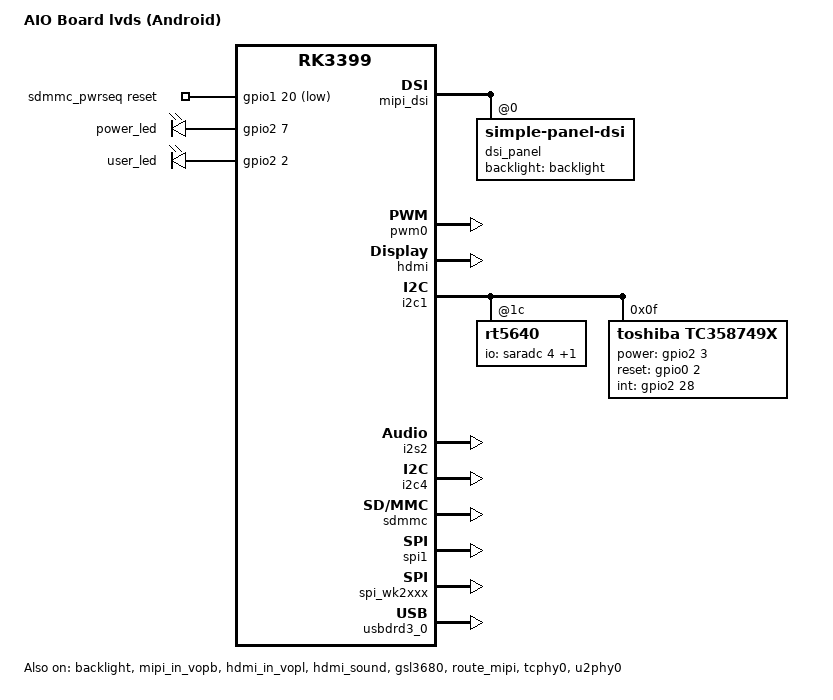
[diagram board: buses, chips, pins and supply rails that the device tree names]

/*
 * Copyright (c) 2016 Fuzhou Rockchip Electronics Co., Ltd
 *
 * This file is dual-licensed: you can use it either under the terms
 * of the GPL or the X11 license, at your option. Note that this dual
 * licensing only applies to this file, and not this project as a
 * whole.
 *
 *  a) This file is free software; you can redistribute it and/or
 *     modify it under the terms of the GNU General Public License as
 *     published by the Free Software Foundation; either version 2 of the
 *     License, or (at your option) any later version.
 *
 *     This file is distributed in the hope that it will be useful,
 *     but WITHOUT ANY WARRANTY; without even the implied warranty of
 *     MERCHANTABILITY or FITNESS FOR A PARTICULAR PURPOSE.  See the
 *     GNU General Public License for more details.
 *
 * Or, alternatively,
 *
 *  b) Permission is hereby granted, free of charge, to any person
 *     obtaining a copy of this software and associated documentation
 *     files (the "Software"), to deal in the Software without
 *     restriction, including without limitation the rights to use,
 *     copy, modify, merge, publish, distribute, sublicense, and/or
 *     sell copies of the Software, and to permit persons to whom the
 *     Software is furnished to do so, subject to the following
 *     conditions:
 *
 *     The above copyright notice and this permission notice shall be
 *     included in all copies or substantial portions of the Software.
 *
 *     THE SOFTWARE IS PROVIDED "AS IS", WITHOUT WARRANTY OF ANY KIND,
 *     EXPRESS OR IMPLIED, INCLUDING BUT NOT LIMITED TO THE WARRANTIES
 *     OF MERCHANTABILITY, FITNESS FOR A PARTICULAR PURPOSE AND
 *     NONINFRINGEMENT. IN NO EVENT SHALL THE AUTHORS OR COPYRIGHT
 *     HOLDERS BE LIABLE FOR ANY CLAIM, DAMAGES OR OTHER LIABILITY,
 *     WHETHER IN AN ACTION OF CONTRACT, TORT OR OTHERWISE, ARISING
 *     FROM, OUT OF OR IN CONNECTION WITH THE SOFTWARE OR THE USE OR
 *     OTHER DEALINGS IN THE SOFTWARE.
 */

/dts-v1/;

#include "rk3399-firefly-port.dtsi" 	

/ {
	model = "AIO Board lvds (Android)";
	compatible = "rockchip,android", "rockchip,rk3399-firefly-lvds", "rockchip,rk3399";

	test-power {
		status = "okay";
	};

	sdmmc_pwrseq: sdmmc-pwrseq {
           compatible = "mmc-pwrseq-simple";
           clocks = <&rk808 1>;
           clock-names = "ext_clock";
           pinctrl-names = "default";
           pinctrl-0 = <&sdcard_enable_h>;
           /*
            * On the module itself this is one of these (depending
            * on the actual card populated):
            * - SDIO_RESET_L_WL_REG_ON
            * - PDN (power down when low)
            */
           reset-gpios = <&gpio1 20 GPIO_ACTIVE_LOW>; /* GPIO4_D6 */
	};


        rt5640-sound {
        simple-audio-card,dai-link@0 {                                                                                                         
                format = "i2s";
                bitclock-master = <&rt5640_aif1>;
                frame-master = <&rt5640_aif1>;
                cpu {
                        sound-dai = <&i2s1 0>;
                };
                rt5640_aif1:codec {
                        sound-dai = <&rt5640 0>;
                };
        };
        simple-audio-card,dai-link@1 {
               format = "i2s";
               bitclock-master = <&rt5640_aif2>;
               frame-master = <&rt5640_aif2>;
                cpu {
                        sound-dai = <&i2s1 1>;
                };
                rt5640_aif2:codec {
                        sound-dai = <&rt5640 1>;
                };
        };

        simple-audio-card,dai-link@2 {     
                format = "i2s";
                bitclock-master = <&tc358749x_audio>;
                frame-master = <&tc358749x_audio>;
                cpu {
                        sound-dai = <&i2s1 0>;
                };
                tc358749x_audio:codec {
                        sound-dai = <&tc358749x 0>;
                };
        };

	};

};

&backlight {
	status = "okay";
	brightness-levels = < 150 151
	152 153 154 155 156 157 158 159
	160 161 162 163 164 165 166 167
	168 169 170 171 172 173 174 175
	176 177 178 179 180 181 182 183
	184 185 186 187 188 189 190 191
	192 193 194 195 196 197 198 199
	200 201 202 203 204 205 206 207
	208 209 210 211 212 213 214 215
	216 217 218 219 220 221 222 223
	224 225 226 227 228 229 230 231
	232 233 234 235 236 237 238 239
	240 241 242 243 244 245 246 247
	248 249 250 251 252 253 254 255>;
};


&mipi_dsi {
	status = "okay";
	dsi_panel: panel {
		compatible ="simple-panel-dsi";
		reg = <0>;
		//ddc-i2c-bu
		//power-supply = <&vcc_lcd>;
		//pinctrl-0 = <&lcd_panel_reset &lcd_panel_enable>;
		backlight = <&backlight>;
		/*
		enable-gpios = <&gpio1 1 GPIO_ACTIVE_LOW>;
		reset-gpios = <&gpio4 29 GPIO_ACTIVE_LOW>;
		*/
		dsi,flags = <(MIPI_DSI_MODE_VIDEO | MIPI_DSI_MODE_VIDEO_BURST | MIPI_DSI_MODE_LPM | MIPI_DSI_MODE_EOT_PACKET)>;
		dsi,format = <MIPI_DSI_FMT_RGB888>;
		//bus-format = <MEDIA_BUS_FMT_RGB666_1X18>;
		dsi,lanes = <4>;

        dsi,channel = <0>;

        delay,enable = <35>;
        delay,prepare = <6>;
		/*
        delay,power = <10>;
        delay,reset = <250>;

        delay,unreset = <0>;
        delay,unpower = <0>;
		*/
        delay,unprepare = <0>;
        delay,disable = <20>;
		
        size,width = <120>;
        size,height = <170>;

        status = "okay";
				

        panel-init-sequence = [
	29 00 06 3C 01 09 00 07 00
	29 00 06 14 01 06 00 00 00
	29 00 06 64 01 0B 00 00 00
	29 00 06 68 01 0B 00 00 00
	29 00 06 6C 01 0B 00 00 00
	29 00 06 70 01 0B 00 00 00
	29 00 06 34 01 1F 00 00 00
	29 00 06 10 02 1F 00 00 00
	29 00 06 04 01 01 00 00 00
	29 00 06 04 02 01 00 00 00
	29 00 06 50 04 20 01 F0 03
	29 00 06 54 04 32 00 B4 00
	29 00 06 58 04 80 07 48 00
	29 00 06 5C 04 0A 00 19 00
	29 00 06 60 04 38 04 0A 00
	29 00 06 64 04 01 00 00 00
	29 01 06 A0 04 06 80 44 00
	29 00 06 A0 04 06 80 04 00
	29 00 06 04 05 04 00 00 00
	29 00 06 80 04 00 01 02 03
	29 00 06 84 04 04 07 05 08
	29 00 06 88 04 09 0A 0E 0F
	29 00 06 8C 04 0B 0C 0D 10
	29 00 06 90 04 16 17 11 12
	29 00 06 94 04 13 14 15 1B
	29 00 06 98 04 18 19 1A 06
	29 02 06 9C 04 33 04 00 00
        ];

		panel-exit-sequence = [
			05 05 01 28
			05 78 01 10
		];
		
		power_ctr: power_ctr {
               rockchip,debug = <0>;
               lcd_en: lcd-en {
                       gpios = <&gpio1 1 GPIO_ACTIVE_HIGH>;
					   pinctrl-names = "default";
					   pinctrl-0 = <&lcd_panel_enable>;
                       rockchip,delay = <10>;
               };

               lcd_pwr_en: lcd-pwr-en {
                       gpios = <&gpio3 16 GPIO_ACTIVE_HIGH>;
                       pinctrl-names = "default";
                       pinctrl-0 = <&lcd_panel_pwr_en>;
                       rockchip,delay = <10>;
               };

               lcd_rst: lcd-rst {
                       gpios = <&gpio2 27 GPIO_ACTIVE_HIGH>;
					   pinctrl-names = "default";
					   pinctrl-0 = <&lcd_panel_reset>;
                       rockchip,delay = <6>;
               };
	   	};

		disp_timings: display-timings {
				          native-mode = <&timing0>;
				          timing0: timing0 {
				                       clock-frequency = <150000000>;
				                       hactive = <1920>;
				                       vactive = <1080>;
				                       hsync-len = <10>;   //20, 50
				                       hback-porch = <10>; //50, 56
				                       hfront-porch = <282>;//50, 30
				                       vsync-len = <10>;
				                       vback-porch = <25>;
				                       vfront-porch = <10>;
				                       hsync-active = <0>;
				                       vsync-active = <0>;
				                       de-active = <0>;
				                       pixelclk-active = <0>;
				                   };
				      };
	};
};

&spdif_bus_1 {
    rockchip,pins =
    <3 16 RK_FUNC_GPIO &pcfg_pull_none>;
};

&pwm0 {
	status = "okay";
};

&mipi_in_vopl {
	status = "disabled";
};

&mipi_in_vopb {
	status = "okay";
};

&hdmi {
	status = "okay";
};

&hdmi_in_vopb {
	status = "disabled";
};
&hdmi_in_vopl {
	status = "okay";
};

&cdn_dp {
    status = "disabled";
    extcon = <&fusb0>;
    phys = <&tcphy0_dp>;
};

&dp_in_vopb {
    status = "disabled";
};

&hdmi_sound {
	status = "okay";
};

&i2c1 {
	status = "okay";
        rt5640: rt5640@1c {
                #sound-dai-cells = <1>;
        };

	tc358749x: tc358749x@0f {
		compatible = "toshiba,tc358749x";
		#sound-dai-cells = <0>;
		reg = <0x0f>;
		power-gpios = <&gpio2 3 GPIO_ACTIVE_HIGH>; 
		reset-gpios = <&gpio0 2 GPIO_ACTIVE_HIGH>;
		int-gpios = <&gpio2 28 GPIO_ACTIVE_HIGH>;
		pinctrl-names = "default";
		pinctrl-0 = <&hdmiin_gpios>;
		status = "okay";
	};

};

&i2s2 {
	status = "okay";
};

&i2c4 {
	status = "okay";
};

&gsl3680 {
	status = "okay";
    reg = <0x40>;
    touch-gpio = <&gpio4 28 IRQ_TYPE_LEVEL_LOW>;
};

&vopb {
	assigned-clocks = <&cru DCLK_VOP0_DIV>;
	assigned-clock-parents = <&cru PLL_CPLL>;
};

&vopl {
	assigned-clocks = <&cru DCLK_VOP1_DIV>;
	assigned-clock-parents = <&cru PLL_VPLL>;
};

&route_hdmi {
	status = "disabled";
	logo,mode = "center";
};
&route_mipi {
	status = "okay";
	logo,mode = "center";
};

&sdmmc {
    status = "okay";
	sd-uhs-sdr104;
	mmc-pwrseq = <&sdmmc_pwrseq>;
};

&rt5640 {
    aux-det-adc-value = <1000>;
    io-channels = <&saradc 4>,<&saradc 2>;
    io-channel-names = "hp-det","aux-det";
};

&power_led {
    gpios = <&gpio2 7 GPIO_ACTIVE_HIGH>;
};

&user_led {
    gpios = <&gpio2 2 GPIO_ACTIVE_HIGH>;
};

/* spi to uart */
&uart4 {
    status = "disabled";
};

&vdd_cpu_b {
    /delete-property/ vsel-gpios;  //wk2xxx reset pin
};

&spi1 {
    status = "okay";
};

&spi_wk2xxx {
    status = "okay";
};

&vcc3v3_pcie {
    gpio = <&gpio2 2 GPIO_ACTIVE_HIGH>;
};

&vcc3v3_3g {
    gpio = <&gpio2 6 GPIO_ACTIVE_HIGH>;
};

/* Otg */
&fusb0 {
    status = "disabled";
};

&tcphy0 {
    /delete-property/ extcon;
    status = "okay";
};
 
&u2phy0 {
    status = "okay";
    /delete-property/ extcon;   
                
    u2phy0_otg: otg-port {
        rockchip,vbus-always-on;
        vbus-5v-gpios = <&gpio1 3 GPIO_ACTIVE_HIGH>;
        status = "okay";
    };
};

&usbdrd3_0 {
    status = "okay";
    /delete-property/ extcon;
};

&sdio0 {
	clock-frequency = <100000000>;
	clock-freq-min-max = <200000 100000000>;
};

&pinctrl {
	lcd-panel {
		lcd_panel_reset: lcd-panel-reset {
			rockchip,pins = <2 27 RK_FUNC_GPIO &pcfg_pull_down>;
		};

        lcd_panel_pwr_en: lcd-panel-pwr-en {
            rockchip,pins = <3 16 RK_FUNC_GPIO &pcfg_pull_down>;
        };

		lcd_panel_enable: lcd-panel-enable {
			rockchip,pins = <1 1 RK_FUNC_GPIO &pcfg_pull_down>;
		};

	};

	sdmmc-pwrseq {
		sdcard_enable_h: sdcard-enable-h {
			rockchip,pins =
			<1 20 RK_FUNC_GPIO &pcfg_pull_none>;
		};
	};

    pcie {
        pcie_drv: pcie-drv {
            rockchip,pins =
            <0 13 RK_FUNC_GPIO &pcfg_pull_none>;
        };
        
        pcie_3g_drv: pcie-3g-drv {
            rockchip,pins = 
            <2 6 RK_FUNC_GPIO &pcfg_pull_up>;
        };
    };

	hdmiin {
		hdmiin_gpios: hdmiin_gpios {
			rockchip,pins =
				<2 3 RK_FUNC_GPIO &pcfg_pull_none>,
				<0 2 RK_FUNC_GPIO &pcfg_pull_none>,
				<2 28 RK_FUNC_GPIO &pcfg_pull_none>;
		};
	};
    leds {
        led_power: led-power {
            rockchip,pins = <2 7 RK_FUNC_GPIO &pcfg_pull_none>;
        };

        led_user: led-user {
            rockchip,pins = <2 2 RK_FUNC_GPIO &pcfg_pull_none>;
        };
    };
};
